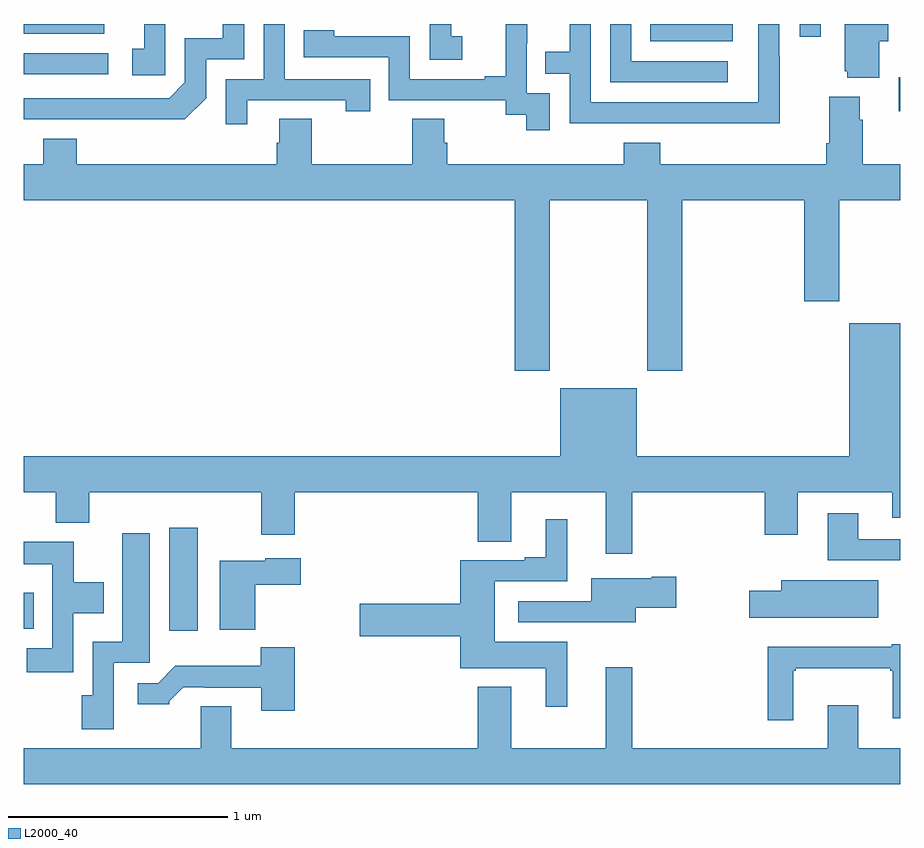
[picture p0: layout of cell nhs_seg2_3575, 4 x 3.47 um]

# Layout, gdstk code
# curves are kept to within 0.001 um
import gdstk
lib = gdstk.Library(unit=1e-6, precision=1e-09)
def R(c, l, rs):  # rectangles x0, y0, x1, y1
    for r in rs: c.add(gdstk.rectangle(r[:2], r[2:], *l))
def P(c, l, *ps):  # polygons
    for p in ps: c.add(gdstk.Polygon(p, *l))
L2000_40 = (2000, 40)

nhs_seg2_3575 = lib.new_cell('nhs_seg2_3575')
R(nhs_seg2_3575, L2000_40, [(299.663,619.032,299.794,619.501), (299,619.04,299.045,619.204), (302.993,621.402,303,621.558), (299,621.57,299.386,621.666), (301.858,621.722,302.236,621.8), (302.541,621.741,302.637,621.8), (299,621.755,299.368,621.8)])
P(nhs_seg2_3575, L2000_40, [(299.832,621.462),(299.832,621.639),(300.006,621.639),(300.006,621.8),(299.909,621.8),(299.909,621.735),(299.736,621.735),(299.736,621.534),(299.664,621.462),(299,621.462),(299,621.366),(299.734,621.365)],
  [(301,621.745),(300.951,621.745),(300.951,621.8),(300.852,621.8),(300.852,621.636),(301,621.636)],
  [(300.019,621.453),(300.47,621.453),(300.47,621.402),(300.581,621.402),(300.581,621.549),(300.192,621.549),(300.192,621.8),(300.096,621.8),(300.096,621.549),(299.922,621.549),(299.922,621.342),(300.019,621.342)],
  [(302.212,621.63),(301.773,621.63),(301.773,621.8),(301.677,621.8),(301.677,621.534),(302.212,621.534)],
  [(302.451,621.653),(302.448,621.653),(302.448,621.8),(302.352,621.8),(302.352,621.444),(301.587,621.444),(301.587,621.8),(301.491,621.8),(301.491,621.674),(301.381,621.674),(301.381,621.573),(301.491,621.573),(301.491,621.348),(301.987,621.348),(301.987,621.347),(302.451,621.347)],
  [(299.646,621.8),(299.549,621.8),(299.549,621.687),(299.496,621.687),(299.496,621.567),(299.646,621.567)],
  [(302.905,621.722),(302.944,621.722),(302.944,621.8),(302.747,621.8),(302.747,621.585),(302.759,621.585),(302.759,621.554),(302.905,621.554)],
  [(301.401,621.483),(301.296,621.483),(301.296,621.713),(301.298,621.713),(301.298,621.8),(301.199,621.8),(301.199,621.562),(301.103,621.562),(301.103,621.549),(300.762,621.549),(300.762,621.744),(300.417,621.744),(300.417,621.771),(300.277,621.771),(300.277,621.648),(300.666,621.648),(300.666,621.453),(301.2,621.453),(301.2,621.385),(301.293,621.385),(301.293,621.315),(301.401,621.315)],
  [(301.904,621.259),(301.739,621.259),(301.739,621.16),(300.932,621.16),(300.932,621.258),(300.919,621.258),(300.919,621.368),(300.772,621.368),(300.772,621.16),(300.315,621.16),(300.315,621.368),(300.167,621.368),(300.167,621.258),(300.155,621.258),(300.155,621.16),(299.243,621.16),(299.243,621.277),(299.09,621.277),(299.09,621.16),(299,621.16),(299,620.996),(301.241,620.996),(301.241,620.217),(301.401,620.217),(301.401,620.996),(301.846,620.996),(301.846,620.217),(302.006,620.217),(302.006,620.996),(302.561,620.996),(302.561,620.535),(302.721,620.535),(302.721,620.996),(303,620.996),(303,621.16),(302.828,621.16),(302.828,621.362),(302.815,621.362),(302.815,621.469),(302.675,621.469),(302.675,621.256),(302.663,621.256),(302.663,621.16),(301.904,621.16)],
  [(301.777,619.664),(302.381,619.664),(302.381,619.47),(302.533,619.47),(302.533,619.664),(302.963,619.664),(302.963,619.547),(303,619.547),(303,620.434),(302.768,620.434),(302.768,619.828),(301.798,619.828),(301.798,620.137),(301.448,620.137),(301.448,619.828),(299,619.828),(299,619.664),(299.147,619.664),(299.147,619.523),(299.3,619.523),(299.3,619.664),(300.083,619.664),(300.083,619.47),(300.236,619.47),(300.236,619.664),(301.073,619.664),(301.073,619.438),(301.225,619.438),(301.225,619.664),(301.655,619.664),(301.655,619.383),(301.777,619.383)],
  [(303,619.449),(302.809,619.449),(302.809,619.567),(302.669,619.567),(302.669,619.353),(303,619.353)],
  [(301.48,618.982),(301.15,618.982),(301.15,619.257),(301.48,619.257),(301.48,619.54),(301.382,619.54),(301.382,619.366),(301.286,619.366),(301.286,619.353),(300.992,619.353),(300.992,619.154),(300.534,619.154),(300.534,619.007),(300.992,619.007),(300.992,618.86),(301.382,618.86),(301.382,618.684),(301.48,618.684)],
  [(299.412,618.885),(299.575,618.885),(299.575,619.477),(299.45,619.477),(299.45,618.982),(299.316,618.982),(299.316,618.738),(299.264,618.738),(299.264,618.582),(299.412,618.582)],
  [(299.226,619.112),(299.365,619.112),(299.365,619.252),(299.229,619.252),(299.229,619.438),(299,619.438),(299,619.334),(299.13,619.334),(299.13,618.951),(299.013,618.951),(299.013,618.843),(299.226,618.843)],
  [(300.056,619.241),(300.265,619.241),(300.265,619.363),(300.102,619.363),(300.102,619.351),(299.894,619.351),(299.894,619.037),(300.056,619.037)],
  [(301.792,619.136),(301.978,619.136),(301.978,619.278),(301.865,619.278),(301.865,619.27),(301.589,619.27),(301.589,619.167),(301.257,619.167),(301.257,619.071),(301.576,619.071),(301.576,619.07),(301.792,619.07)],
  [(302.899,619.261),(302.456,619.261),(302.456,619.213),(302.31,619.213),(302.31,619.091),(302.899,619.091)],
  [(302.512,618.849),(302.524,618.849),(302.524,618.86),(302.955,618.86),(302.955,618.849),(302.966,618.849),(302.966,618.632),(303,618.632),(303,618.97),(302.96,618.97),(302.96,618.958),(302.395,618.958),(302.395,618.624),(302.512,618.624)],
  [(300.236,618.955),(300.081,618.955),(300.081,618.871),(299.692,618.871),(299.613,618.792),(299.52,618.792),(299.52,618.695),(299.664,618.695),(299.664,618.71),(299.728,618.774),(299.827,618.774),(299.827,618.771),(300.083,618.771),(300.083,618.666),(300.236,618.666)],
  [(303,618.496),(302.809,618.496),(302.809,618.691),(302.669,618.691),(302.669,618.496),(301.777,618.496),(301.777,618.865),(301.655,618.865),(301.655,618.496),(301.225,618.496),(301.225,618.775),(301.073,618.775),(301.073,618.496),(299.947,618.496),(299.947,618.686),(299.807,618.686),(299.807,618.496),(299,618.496),(299,618.332),(303,618.332)])

lib.write_gds('nhs_seg2_3575.gds')
